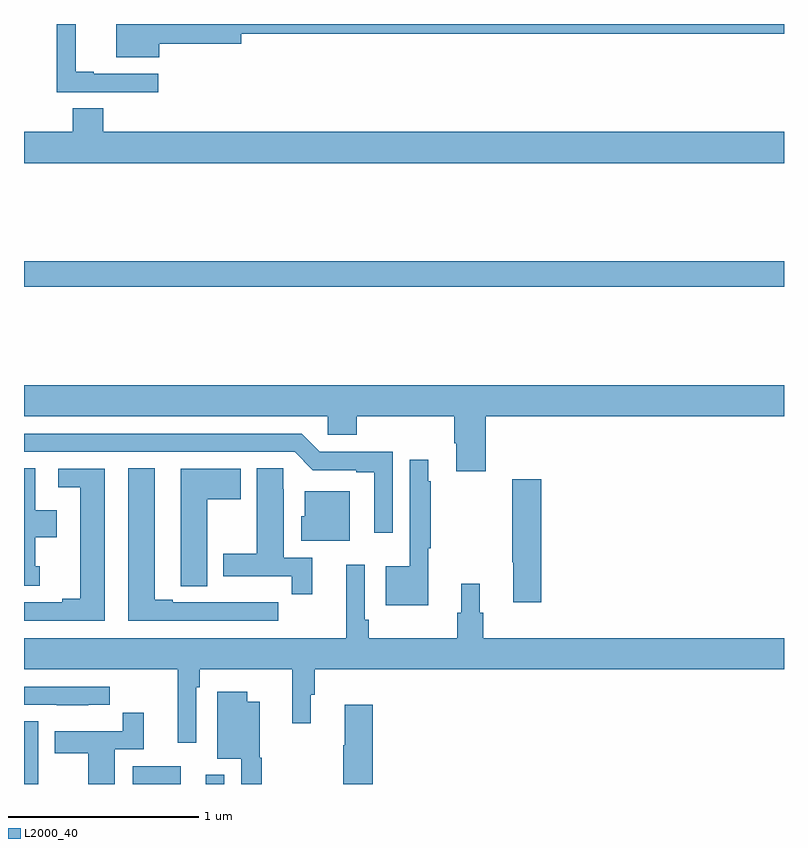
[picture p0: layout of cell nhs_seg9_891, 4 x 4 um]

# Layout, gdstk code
import gdstk
lib = gdstk.Library(unit=1e-6, precision=1e-09)
def R(c, l, rs):  # rectangles x0, y0, x1, y1
    for r in rs: c.add(gdstk.rectangle(r[:2], r[2:], *l))
def P(c, l, *ps):  # polygons
    for p in ps: c.add(gdstk.Polygon(p, *l))
L2000_40 = (2000, 40)

nhs_seg9_891 = lib.new_cell('nhs_seg9_891')
R(nhs_seg9_891, L2000_40, [(159,1178.5,159.076,1178.831), (159.572,1178.5,159.826,1178.593), (159.956,1178.5,160.053,1178.548), (159,1181.116,163,1181.252)])
P(nhs_seg9_891, L2000_40, [(159.712,1182.396),(160.143,1182.396),(160.143,1182.448),(163,1182.448),(163,1182.5),(159.485,1182.5),(159.485,1182.326),(159.712,1182.326)],
  [(159.706,1182.237),(159.367,1182.237),(159.367,1182.25),(159.272,1182.25),(159.272,1182.5),(159.172,1182.5),(159.172,1182.141),(159.706,1182.141)],
  [(163,1181.932),(159.416,1181.932),(159.416,1182.056),(159.256,1182.056),(159.256,1181.932),(159,1181.932),(159,1181.768),(163,1181.768)],
  [(161.429,1180.436),(163,1180.436),(163,1180.6),(159,1180.6),(159,1180.436),(160.599,1180.436),(160.599,1180.338),(160.751,1180.338),(160.751,1180.436),(161.264,1180.436),(161.264,1180.294),(161.276,1180.294),(161.276,1180.146),(161.429,1180.146)],
  [(160.941,1180.248),(160.557,1180.248),(160.461,1180.344),(159,1180.344),(159,1180.248),(160.425,1180.248),(160.521,1180.152),(160.748,1180.152),(160.748,1180.14),(160.844,1180.14),(160.844,1179.822),(160.941,1179.822)],
  [(161.128,1179.742),(161.14,1179.742),(161.14,1180.094),(161.128,1180.094),(161.128,1180.207),(161.031,1180.207),(161.031,1179.646),(160.904,1179.646),(160.904,1179.44),(161.128,1179.44)],
  [(160.517,1179.69),(160.366,1179.69),(160.366,1180.052),(160.365,1180.052),(160.365,1180.163),(160.226,1180.163),(160.226,1179.711),(160.049,1179.711),(160.049,1179.594),(160.408,1179.594),(160.408,1179.498),(160.517,1179.498)],
  [(159.082,1179.645),(159.058,1179.645),(159.058,1179.8),(159.172,1179.8),(159.172,1179.94),(159.058,1179.94),(159.058,1180.163),(159,1180.163),(159,1179.543),(159.082,1179.543)],
  [(160.339,1179.456),(160.226,1179.456),(160.226,1179.457),(160.06,1179.457),(160.06,1179.456),(159.784,1179.456),(159.784,1179.471),(159.688,1179.471),(159.688,1180.163),(159.548,1180.163),(159.548,1179.36),(160.339,1179.36)],
  [(159.964,1180),(160.141,1180),(160.141,1180.159),(159.824,1180.159),(159.824,1179.649),(159.825,1179.649),(159.825,1179.541),(159.964,1179.541)],
  [(159.424,1180.158),(159.18,1180.158),(159.18,1180.062),(159.296,1180.062),(159.296,1179.476),(159.2,1179.476),(159.2,1179.456),(159,1179.456),(159,1179.36),(159.424,1179.36)],
  [(161.723,1180.105),(161.569,1180.105),(161.569,1179.668),(161.576,1179.668),(161.576,1179.456),(161.723,1179.456)],
  [(160.714,1180.042),(160.478,1180.042),(160.478,1179.909),(160.46,1179.909),(160.46,1179.779),(160.714,1179.779)],
  [(163,1179.268),(161.417,1179.268),(161.417,1179.402),(161.398,1179.402),(161.398,1179.553),(161.3,1179.553),(161.3,1179.402),(161.281,1179.402),(161.281,1179.268),(160.814,1179.268),(160.814,1179.364),(160.794,1179.364),(160.794,1179.655),(160.697,1179.655),(160.697,1179.268),(159,1179.268),(159,1179.104),(159.809,1179.104),(159.809,1178.718),(159.906,1178.718),(159.906,1179.008),(159.926,1179.008),(159.926,1179.104),(160.411,1179.104),(160.411,1178.82),(160.51,1178.82),(160.51,1178.97),(160.529,1178.97),(160.529,1179.104),(163,1179.104)],
  [(159.338,1178.916),(159.451,1178.916),(159.451,1179.012),(159,1179.012),(159,1178.916),(159.172,1178.916),(159.172,1178.915),(159.338,1178.915)],
  [(160.252,1178.637),(160.24,1178.637),(160.24,1178.932),(160.174,1178.932),(160.174,1178.986),(160.016,1178.986),(160.016,1178.633),(160.143,1178.633),(160.143,1178.5),(160.252,1178.5)],
  [(160.835,1178.917),(160.688,1178.917),(160.688,1178.704),(160.681,1178.704),(160.681,1178.5),(160.835,1178.5)],
  [(159.478,1178.682),(159.629,1178.682),(159.629,1178.875),(159.52,1178.875),(159.52,1178.778),(159.161,1178.778),(159.161,1178.662),(159.338,1178.662),(159.338,1178.5),(159.478,1178.5)])

lib.write_gds('nhs_seg9_891.gds')
